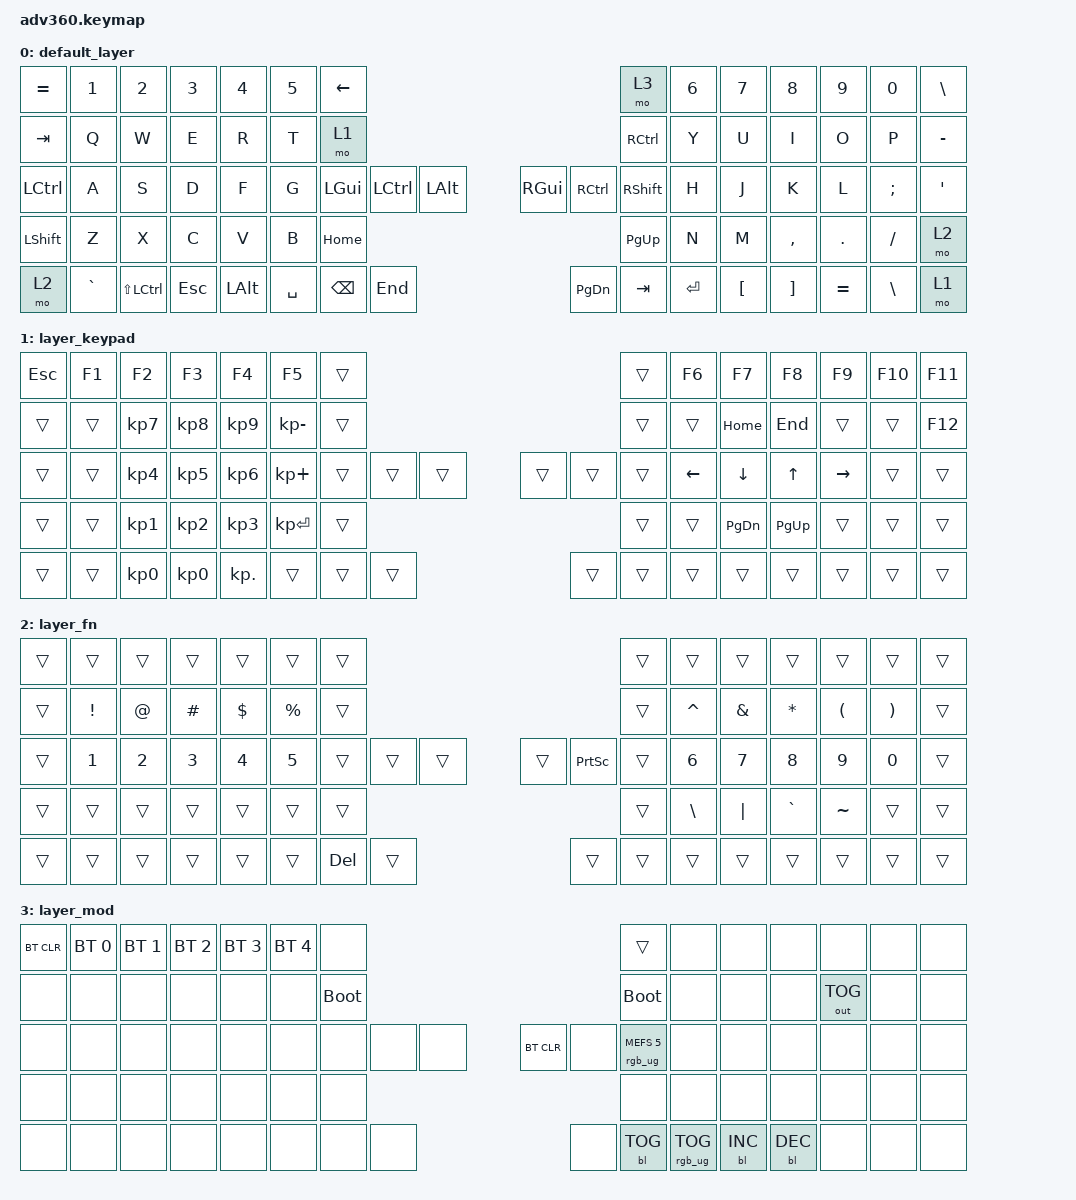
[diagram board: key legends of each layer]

/*
 * Copyright (c) 2020 The ZMK Contributors
 *
 * SPDX-License-Identifier: MIT
 */


/* THIS FILE WAS GENERATED!
 *
 * This file was generated automatically. You may or may not want to
 * edit it directly.
 */

#include <behaviors.dtsi>
#include <dt-bindings/zmk/keys.h>
#include <dt-bindings/zmk/bt.h>
#include <dt-bindings/zmk/outputs.h>
#include <dt-bindings/zmk/rgb.h>
#include <dt-bindings/zmk/backlight.h>

/ {
  behaviors {
    #include "macros.dtsi"

    hm: homerow_mods {
        compatible = "zmk,behavior-hold-tap";
        label = "HOMEROW_MODS";
        #binding-cells = <2>;
        tapping-term-ms = <200>;
        quick_tap_ms = <175>;
        flavor = "tap-preferred";
        bindings = <&kp>, <&kp>;
    };
  };

    keymap {
        compatible = "zmk,keymap";


        default_layer {
            bindings = <
 &kp EQUAL     &kp N1         &kp N2   &kp N3        &kp N4  &kp N5            &kp LEFT_ARROW                                                                               &mo 3  &kp N6            &kp N7             &kp N8     &kp N9         &kp N0  &kp BACKSLASH
   &kp TAB      &kp Q          &kp W    &kp E         &kp R   &kp T                     &mo 1                                                                           &kp RCTRL   &kp Y             &kp U              &kp I      &kp O          &kp P      &kp MINUS
 &kp LCTRL      &kp A          &kp S    &kp D         &kp F   &kp G                  &kp LGUI      &kp LCTRL  &kp LALT                  &kp RIGHT_GUI  &kp RCTRL  &kp RIGHT_SHIFT   &kp H             &kp J              &kp K      &kp L       &kp SEMI        &kp SQT
 &kp LSHFT      &kp Z          &kp X    &kp C         &kp V   &kp B                                           &kp HOME                      &kp PG_UP                               &kp N             &kp M          &kp COMMA    &kp DOT       &kp FSLH          &mo 2
     &mo 2  &kp GRAVE  &kp LS(LCTRL)  &kp ESC  &kp LEFT_ALT                         &kp SPACE  &kp BACKSPACE   &kp END                      &kp PG_DN    &kp TAB        &kp ENTER          &kp LEFT_BRACKET  &kp RIGHT_BRACKET  &kp EQUAL  &kp BACKSLASH          &mo 1
            >;
        };

        layer_keypad {
            bindings = <
 &kp ESC  &kp F1     &kp F2     &kp F3      &kp F4        &kp F5            &trans                                                  &trans    &kp F6          &kp F7        &kp F8     &kp F9  &kp F10  &kp F11
  &trans  &trans  &kp KP_N7  &kp KP_N8   &kp KP_N9  &kp KP_MINUS            &trans                                                  &trans    &trans        &kp HOME       &kp END     &trans   &trans  &kp F12
  &trans  &trans  &kp KP_N4  &kp KP_N5   &kp KP_N6   &kp KP_PLUS            &trans  &trans  &trans                  &trans  &trans  &trans  &kp LEFT  &kp DOWN_ARROW  &kp UP_ARROW  &kp RIGHT   &trans   &trans
  &trans  &trans  &kp KP_N1  &kp KP_N2   &kp KP_N3  &kp KP_ENTER                            &trans                  &trans                    &trans   &kp PAGE_DOWN     &kp PG_UP     &trans   &trans   &trans
  &trans  &trans  &kp KP_N0  &kp KP_N0  &kp KP_DOT                          &trans  &trans  &trans                  &trans  &trans  &trans                    &trans        &trans     &trans   &trans   &trans
            >;
        };

        layer_fn {
            bindings = <
 &trans    &trans  &trans    &trans    &trans     &trans            &trans                                                            &trans         &trans    &trans     &trans                &trans                 &trans  &trans
 &trans  &kp EXCL  &kp AT  &kp HASH  &kp DLLR  &kp PRCNT            &trans                                                            &trans      &kp CARET  &kp AMPS   &kp STAR  &kp LEFT_PARENTHESIS  &kp RIGHT_PARENTHESIS  &trans
 &trans    &kp N1  &kp N2    &kp N3    &kp N4     &kp N5            &trans   &trans  &trans                  &trans  &kp PRINTSCREEN  &trans         &kp N6    &kp N7     &kp N8                &kp N9                 &kp N0  &trans
 &trans    &trans  &trans    &trans    &trans     &trans                             &trans                  &trans                           &kp BACKSLASH  &kp PIPE  &kp GRAVE             &kp TILDE                 &trans  &trans
 &trans    &trans  &trans    &trans    &trans                       &trans  &kp DEL  &trans                  &trans           &trans  &trans                   &trans     &trans                &trans                 &trans  &trans
            >;
        };

        layer_mod {
            bindings = <
 &bt BT_CLR  &bt BT_SEL 0  &bt BT_SEL 1  &bt BT_SEL 2  &bt BT_SEL 3  &bt BT_SEL 4                  &none                                                                          &trans   &none       &none       &none         &none   &none   &none
      &none         &none         &none         &none         &none         &none            &bootloader                                                                     &bootloader   &none       &none       &none  &out OUT_TOG   &none   &none
      &none         &none         &none         &none         &none         &none                  &none   &none   &none                  &bt BT_CLR       &none  &rgb_ug RGB_MEFS_CMD 5   &none       &none       &none         &none   &none   &none
      &none         &none         &none         &none         &none         &none                                  &none                       &none                                       &none       &none       &none         &none   &none   &none
      &none         &none         &none         &none         &none                                &none   &none   &none                       &none  &bl BL_TOG         &rgb_ug RGB_TOG          &bl BL_INC  &bl BL_DEC         &none   &none   &none
            >;
        };

    };
};
